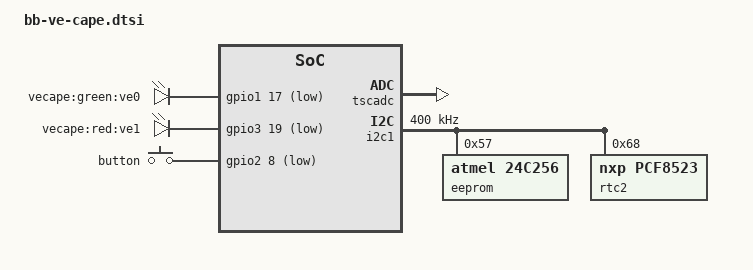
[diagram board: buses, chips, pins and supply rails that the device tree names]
#include "bbb-dcan0.dtsi"
#include "bbb-dcan1.dtsi"
#include "bbb-uart2.dtsi"
#include "bbb-uart4.dtsi"
#include "bbb-uart5.dtsi"
#include "bb-ve-cape-buzzer.dtsi"
#include "bb-ve-cape-digital-inputs.dtsi"
#include <dt-bindings/input/input.h>

/ {
	leds {
		compatible = "gpio-leds";
		pinctrl-names = "default";
		pinctrl-0 = <&ve_led_pins>;

		led-green {
			label = "vecape:green:ve0";
			gpios = <&gpio1 17 GPIO_ACTIVE_LOW>;
			linux,default-trigger = "blink-slow";
		};

		led-red {
			label = "vecape:red:ve1";
			gpios = <&gpio3 19 GPIO_ACTIVE_LOW>;
			default-state = "off";
		};
	};

	button {
		compatible = "gpio-keys";

		button {
			linux,code = <KEY_CONFIG>;
			gpios = <&gpio2 8 GPIO_ACTIVE_LOW>;
		};
	};

};

&am33xx_pinmux {
	// note: needed by bb-ve-cape-digital-inputs.dtsi
	pinctrl-0 = <&digital_inputs>;

	ve_led_pins: pinmux_led_pins {
		pinctrl-single,pins = <
			AM33XX_PADCONF(AM335X_PIN_GPMC_A1, PIN_OUTPUT, MUX_MODE7)
			AM33XX_PADCONF(AM335X_PIN_MCASP0_FSR, PIN_OUTPUT, MUX_MODE7)
		>;
	};

	i2c1_pins: pinmux_i2c1_pins {
		pinctrl-single,pins = <
			AM33XX_PADCONF(AM335X_PIN_SPI0_D1, PIN_INPUT, MUX_MODE2)
			AM33XX_PADCONF(AM335X_PIN_SPI0_CS0, PIN_INPUT, MUX_MODE2)
		>;
	};
};

&tscadc {
	status = "okay";

	adc {
		ti,adc-channels = <0 1 2 3 4 5 6>;
	};
};

&i2c1 {
	pinctrl-names = "default";
	pinctrl-0 = <&i2c1_pins>;
	status = "okay";
	clock-frequency = <400000>;

	eeprom@57 {
		compatible = "atmel,24c256";
		reg = <0x57>;
		pagesize = <64>;
	};

	rtc2: rtc@68 {
		compatible = "nxp,pcf8523";
		reg = <0x68>;
	};
};
